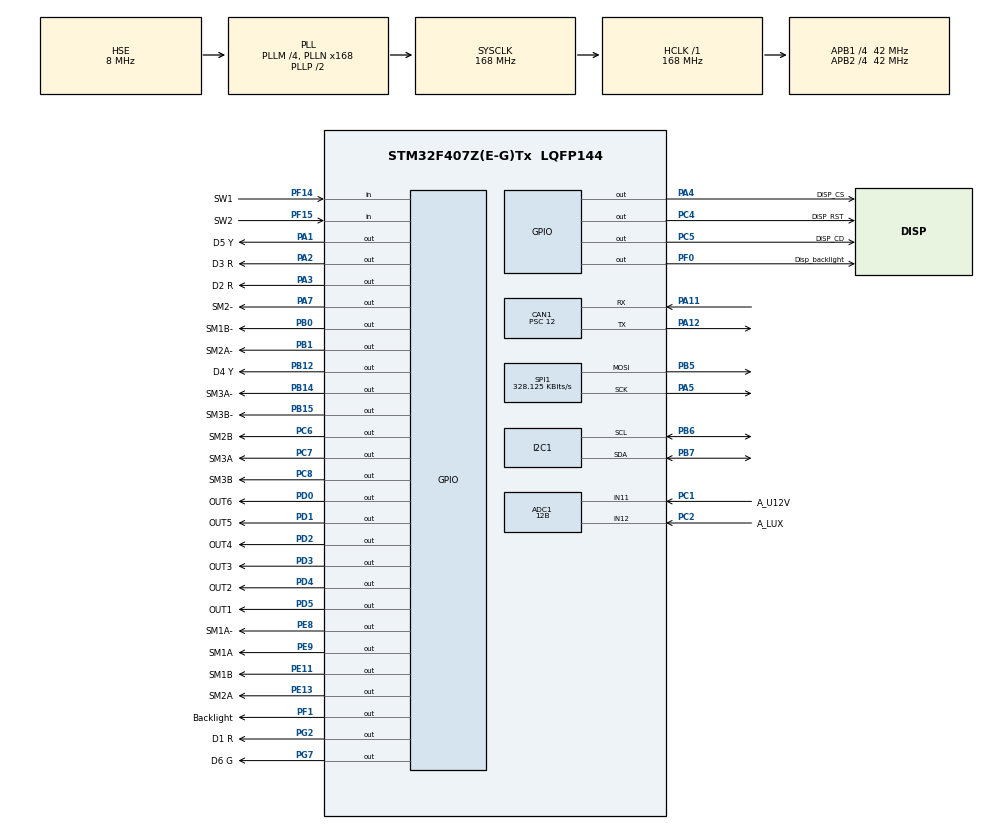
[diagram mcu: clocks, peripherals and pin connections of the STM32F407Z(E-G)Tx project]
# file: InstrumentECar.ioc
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ADC1.Channel-0\#ChannelRegularConversion=ADC_CHANNEL_11
ADC1.Channel-1\#ChannelRegularConversion=ADC_CHANNEL_12
ADC1.ContinuousConvMode=ENABLE
ADC1.EOCSelection=ADC_EOC_SEQ_CONV
ADC1.InjNumberOfConversion=0
ADC1.NbrOfConversion=2
ADC1.NbrOfConversionFlag=1
ADC1.Rank-0\#ChannelRegularConversion=1
ADC1.Rank-1\#ChannelRegularConversion=2
ADC1.Resolution=ADC_RESOLUTION_12B
ADC1.SamplingTime-0\#ChannelRegularConversion=ADC_SAMPLETIME_28CYCLES
ADC1.SamplingTime-1\#ChannelRegularConversion=ADC_SAMPLETIME_28CYCLES
ADC1.ScanConvMode=ENABLE
ADC1.master=1
CAN1.BS1=CAN_BS1_3TQ
CAN1.BS2=CAN_BS2_3TQ
CAN1.CalculateTimeQuantum=285.7142857142857
CAN1.Prescaler=12
Dma.ADC1.0.Direction=DMA_PERIPH_TO_MEMORY
Dma.ADC1.0.FIFOMode=DMA_FIFOMODE_DISABLE
Dma.ADC1.0.Instance=DMA2_Stream0
Dma.ADC1.0.MemDataAlignment=DMA_MDATAALIGN_HALFWORD
Dma.ADC1.0.MemInc=DMA_MINC_ENABLE
Dma.ADC1.0.Mode=DMA_NORMAL
Dma.ADC1.0.PeriphDataAlignment=DMA_PDATAALIGN_HALFWORD
Dma.ADC1.0.PeriphInc=DMA_PINC_DISABLE
Dma.ADC1.0.Priority=DMA_PRIORITY_LOW
Dma.Request0=ADC1
Mcu.Family=STM32F4
Mcu.Name=STM32F407Z(E-G)Tx
Mcu.Package=LQFP144
NVIC.CAN1_RX0_IRQn=true\:3\:0\:true\:false\:true\:true\:true
NVIC.DMA2_Stream0_IRQn=true\:0\:0\:false\:false\:true\:false\:true
NVIC.PriorityGroup=NVIC_PRIORITYGROUP_4
PA1.GPIO_Label=D5 Y
PA1.Signal=GPIO_Output
PA11.Mode=Master
PA11.Signal=CAN1_RX
PA12.Mode=Master
PA12.Signal=CAN1_TX
PA13.Mode=Serial_Wire
PA13.Signal=SYS_JTMS-SWDIO
PA14.Mode=Serial_Wire
PA14.Signal=SYS_JTCK-SWCLK
PA2.GPIO_Label=D3 R
PA2.Signal=GPIO_Output
PA3.GPIO_Label=D2 R
PA3.Signal=GPIO_Output
PA4.GPIO_Label=DISP_CS
PA4.Signal=GPIO_Output
PA5.Mode=TX_Only_Simplex_Unidirect_Master
PA5.Signal=SPI1_SCK
PA7.GPIO_Label=SM2-
PA7.Signal=GPIO_Output
PB0.GPIO_Label=SM1B-
PB0.Signal=GPIO_Output
PB1.GPIO_Label=SM2A-
PB1.Signal=GPIO_Output
PB12.GPIO_Label=D4 Y
PB12.Signal=GPIO_Output
PB14.GPIO_Label=SM3A-
PB14.Signal=GPIO_Output
PB15.GPIO_Label=SM3B-
PB15.Signal=GPIO_Output
PB5.Mode=TX_Only_Simplex_Unidirect_Master
PB5.Signal=SPI1_MOSI
PB6.Mode=I2C
PB6.Signal=I2C1_SCL
PB7.Mode=I2C
PB7.Signal=I2C1_SDA
PC1.GPIO_Label=A_U12V
PC1.Signal=ADCx_IN11
PC2.GPIO_Label=A_LUX
PC2.Signal=ADCx_IN12
PC4.GPIO_Label=DISP_RST
PC4.Signal=GPIO_Output
PC5.GPIO_Label=DISP_CD
PC5.Signal=GPIO_Output
PC6.GPIO_Label=SM2B
PC6.Signal=GPIO_Output
PC7.GPIO_Label=SM3A
PC7.Signal=GPIO_Output
PC8.GPIO_Label=SM3B
PC8.Signal=GPIO_Output
PD0.GPIO_Label=OUT6
PD0.Signal=GPIO_Output
PD1.GPIO_Label=OUT5
PD1.Signal=GPIO_Output
PD2.GPIO_Label=OUT4
PD2.Signal=GPIO_Output
PD3.GPIO_Label=OUT3
PD3.Signal=GPIO_Output
PD4.GPIO_Label=OUT2
PD4.Signal=GPIO_Output
PD5.GPIO_Label=OUT1
PD5.Signal=GPIO_Output
PE11.GPIO_Label=SM1B
PE11.Signal=GPIO_Output
PE13.GPIO_Label=SM2A
PE13.Signal=GPIO_Output
PE8.GPIO_Label=SM1A-
PE8.Signal=GPIO_Output
PE9.GPIO_Label=SM1A
PE9.Signal=GPIO_Output
PF0.GPIO_Label=Disp_backlight
PF0.Signal=GPIO_Output
PF1.GPIO_Label=Backlight
PF1.Signal=GPIO_Output
PF14.GPIO_Label=SW1
PF14.Signal=GPIO_Input
PF15.GPIO_Label=SW2
PF15.Signal=GPIO_Input
PG2.GPIO_Label=D1 R
PG2.Signal=GPIO_Output
PG7.GPIO_Label=D6 G
PG7.Signal=GPIO_Output
PH0-OSC_IN.Mode=HSE-External-Oscillator
PH0-OSC_IN.Signal=RCC_OSC_IN
PH1-OSC_OUT.Mode=HSE-External-Oscillator
PH1-OSC_OUT.Signal=RCC_OSC_OUT
ProjectManager.HeapSize=0x200
ProjectManager.StackSize=0x400
ProjectManager.TargetToolchain=STM32CubeIDE
RCC.48MHZClocksFreq_Value=84000000
RCC.AHBFreq_Value=168000000
RCC.APB1CLKDivider=RCC_HCLK_DIV4
RCC.APB1Freq_Value=42000000
RCC.APB1TimFreq_Value=84000000
RCC.APB2CLKDivider=RCC_HCLK_DIV4
RCC.APB2Freq_Value=42000000
RCC.APB2TimFreq_Value=84000000
RCC.CortexFreq_Value=168000000
RCC.HCLKFreq_Value=168000000
RCC.HSE_VALUE=8000000
RCC.HSI_VALUE=16000000
RCC.LSE_VALUE=32768
RCC.PLLM=4
RCC.PLLN=168
RCC.PLLSourceVirtual=RCC_PLLSOURCE_HSE
RCC.SYSCLKFreq_VALUE=168000000
RCC.SYSCLKSource=RCC_SYSCLKSOURCE_PLLCLK
RCC.VCOOutputFreq_Value=336000000
SH.ADCx_IN11.0=ADC1_IN11,IN11
SH.ADCx_IN12.0=ADC1_IN12,IN12
SPI1.BaudRatePrescaler=SPI_BAUDRATEPRESCALER_128
SPI1.CalculateBaudRate=328.125 KBits/s
SPI1.Direction=SPI_DIRECTION_2LINES
SPI1.Mode=SPI_MODE_MASTER
SPI1.VirtualType=VM_MASTER
board=custom

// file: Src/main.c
/* USER CODE BEGIN Header */
/**
 ******************************************************************************
 * @file           : main.c
 * @brief          : Main program body
 ******************************************************************************
 * @attention
 *
 * <h2><center>&copy; Copyright (c) 2019 STMicroelectronics.
 * All rights reserved.</center></h2>
 *
 * This software component is licensed by ST under BSD 3-Clause license,
 * the "License"; You may not use this file except in compliance with the
 * License. You may obtain a copy of the License at:
 *                        opensource.org/licenses/BSD-3-Clause
 *
 ******************************************************************************
 */
/* USER CODE END Header */

#include "main.h"

/* USER CODE BEGIN Includes */
#include "stdio.h"
#include "stdlib.h"
#include "StepperMot.h"
#include "Display.h"
#include "u8g2.h"
#include "SPI_parallel.h"
#include "can_handler.h"
#include "mov_avg.h"
/* USER CODE END Includes */

/* USER CODE BEGIN PTD */
typedef enum {
	DISP_M0, //Default
	DISP_M1,
	DISP_M2,
	DISP_Mcharge,
	DISP_Mlast
} DISP_MODE;

typedef enum
{
	INST_INIT,
	INST_DRIVE,
	INST_CHARGE,
	INST_OFF,
	INST_ERR
}INSTRUMENT_STATE;

char drive_mode_char[] = "PRNDESI";

/* USER CODE END PTD */

/* USER CODE BEGIN PD */
/*DISPLAY dimensions*/
#define DISP_W 128
#define DISP_H 64

#define DISP_MOD_W 20
#define DISP_MOD_H 22

#define DISP_LINE1_Y 42
#define DISP_ODO_size 10
#define DISP_LINE2_Y 53
#define DISP_TRIP_size 10

/*LED control definitions*/

/* USER CODE END PD */

ADC_HandleTypeDef hadc1;
DMA_HandleTypeDef hdma_adc1;
CAN_HandleTypeDef hcan1;
I2C_HandleTypeDef hi2c1;
SPI_HandleTypeDef hspi1;
/* USER CODE BEGIN PV */

s_STEPPER stepper1, stepper2, stepper3;
u8g2_t u8g2;
uint64_t baseTimer = 0;
uint8_t period_1, period_10, period_100, period_1000;
uint8_t sw1_pressed = 0, sw2_pressed = 0;
uint8_t drive_mode = 0;
DISP_MODE display_mode = DISP_M0;

/* BATTERY */
uint16_t hp_batt_tem_C = 0;
uint16_t hp_batt_volt = 0;
uint16_t hp_batt_perc = 0;
#define HP_LOW_BATT 	200 /* 20 % */

uint16_t lp_batt_volt = 0; /*OK 12-15V 0.1V*/
#define LVB_LOW_OFF 50
#define LVB_CHAR_LO 131
#define LVB_CHAR_HI 136

/* TEMPERATURES */
#define HP_BAT_PUMP 	400 /* 40 C */
#define MOT_PUMP 		50 /* 50 C */
#define HP_BAT_COOL 	350 /* 40 C */
#define MOT_COOL 		40 /* 40 C */
#define HP_BAT_TEMP_MAX	580
#define MOT_TEMP_MAX	89

#define HP_BAT_FAN_ON 	450
#define HP_BAT_FAN_OFF	420

#define MOT_FAN_ON 		75
#define MOT_FAN_OFF		50

/* MOTOR */
#define MOT_MAX_POWER 350
#define MOT_MAX_REGEN 80
uint16_t mot_max_power = 500;
uint16_t mot_max_regen = 300;

/*DISTANCE AND SPEED*/
//#define DIST_DIV_CONST 57600
#define TRIP_DIV_CONST 57600
#define ODO_DIV_CONST 58
#define ODO_LOW_DIV 1000
#define TRIP_EEPROM_ADD 10
#define ODO_EEPROM_ADD 20
uint32_t odo_dist = 0, trip_dist = 0; /*ODO is divided by 1000 */
uint32_t odo_low = 0;

#define SPEED_DIV_CONST 57600
#define VEH_SPEED_SAMPLES 20
#define SPEED_TO_POS(spd) ((uint32_t)spd*82/100)
int16_t veh_speed = 0;
s_MOV_AVG_32 veh_speed_avg;
uint32_t veh_speed_buf[VEH_SPEED_SAMPLES];

/* CHARACTER ARRAYS */
char univ_string4[] = "1234";
char univ_string6[] = "123456";

char char_mode[] = "P";
char char_odo[] = "000000";
char char_trip[] = "0000.0";

/* USER CODE END PV */

void SystemClock_Config(void);
static void MX_GPIO_Init(void);
static void MX_ADC1_Init(void);
static void MX_DMA_Init(void);
static void MX_CAN1_Init(void);
static void MX_I2C1_Init(void);
static void MX_SPI1_Init(void);

/* USER CODE BEGIN 0 */

void R_button() {
	if (sw1_pressed)
		HAL_GPIO_TogglePin(Backlight_GPIO_Port, Backlight_Pin);
	else
		trip_dist = 0;
}
void L_button() /*OK*/
{
	display_mode++;
	if (display_mode > DISP_M2)
		display_mode = DISP_M0;
}

void set_pointers_positions() {
	//stepper1.wPosition = (int16_t) MOTOR_POWER / 146 + 15;
	int16_t current = MOTOR_CURRENT;
	if(current > 0) stepper1.wPosition = current / 320 + 15;
	else stepper1.wPosition = current  / 53 + 15;
	stepper2.wPosition = SPEED_TO_POS(veh_speed);
	stepper3.wPosition = (hp_batt_perc / 25);

}

#define OUT_BAT400 	2
#define OUT_REL400 	1
#define OUT_FAN_BAT	5
#define OUT_FAN_MOT 4
#define OUT_PUMPS	3

void set_out(uint8_t out_nr, uint8_t out_enable) {
	switch (out_nr) {
	case 1:
		HAL_GPIO_WritePin(OUT1_GPIO_Port, OUT1_Pin, out_enable);
		break;
	case 2:
		HAL_GPIO_WritePin(OUT2_GPIO_Port, OUT2_Pin, out_enable);
		break;
	case 3:
		HAL_GPIO_WritePin(OUT3_GPIO_Port, OUT3_Pin, out_enable);
		break;
	case 4:
		HAL_GPIO_WritePin(OUT4_GPIO_Port, OUT4_Pin, out_enable);
		break;
	case 5:
		HAL_GPIO_WritePin(OUT5_GPIO_Port, OUT5_Pin, out_enable);
		break;
	case 6:
		HAL_GPIO_WritePin(OUT6_GPIO_Port, OUT6_Pin, out_enable);
		break;
	}
}

typedef enum {
	LED_PARKING, /*OK*/
	LED_BRAKE_PEDAL, LED_LOW_BATT, /*OK*/
	LED_CHARGING_ERROR, /*OK*/
	LED_OVERHEAT, LED_CHECK_ENGINE
} LED_INDICATOR;

void set_indicator(LED_INDICATOR indicator, uint8_t ind_enable) {
	switch (indicator) {
	case LED_PARKING:
		HAL_GPIO_WritePin(D1_R_GPIO_Port, D1_R_Pin, ind_enable);
		break;
	case LED_BRAKE_PEDAL:
		HAL_GPIO_WritePin(D6_G_GPIO_Port, D6_G_Pin, ind_enable);
		break;
	case LED_LOW_BATT:
		HAL_GPIO_WritePin(D5_Y_GPIO_Port, D5_Y_Pin, ind_enable);
		break;
	case LED_CHARGING_ERROR:
		HAL_GPIO_WritePin(D2_R_GPIO_Port, D2_R_Pin, ind_enable);
		break;
	case LED_OVERHEAT:
		HAL_GPIO_WritePin(D3_R_GPIO_Port, D3_R_Pin, ind_enable);
		break;
	case LED_CHECK_ENGINE:
		HAL_GPIO_WritePin(D4_Y_GPIO_Port, D4_Y_Pin, ind_enable);
		break;
	}
}

void get_lp_voltage() {
	if (HAL_ADC_GetValue(&hadc1) < 442)
		lp_batt_volt = 0;
	else
		lp_batt_volt = (10 * HAL_ADC_GetValue(&hadc1) - 4420) / 150;
}

void int2str(char *array, int32_t number, uint32_t a_length, char fill_char) /*OK*/
{
	for (uint8_t i = a_length; i > 0; i--) {
		if (number == 0 && i < a_length)
			array[i - 1] = fill_char;
		else {
			array[i - 1] = (number % 10) + '0';
			number = number / 10;
		}
	}
}

void fp2str(char *array, int32_t number, uint8_t point_pos, uint32_t a_length,
		char fill_char)/*OK*/
{
	for (uint8_t i = a_length; i > 0; i--) {
		if (i == a_length - point_pos && i < a_length) {
			array[i - 1] = '.';
		} else if (number == 0 && i < a_length - point_pos - 1)
			array[i - 1] = fill_char;
		else {
			array[i - 1] = (number % 10) + '0';
			number = number / 10;
		}
	}
}

void draw_bargraph(uint8_t y_line, uint16_t percent, char *b_min, char *b_max)/*OK*/
{
	u8g2_SetFont(&u8g2, u8g2_font_ncenR08_tr);
	u8g2_DrawStr(&u8g2, 1, y_line + 8, b_min);
	u8g2_DrawStr(&u8g2, 105, y_line + 8, b_max);
	u8g2_DrawFrame(&u8g2, 24, y_line, 80, 8);
	u8g2_DrawBox(&u8g2, 24, y_line, (percent << 3) / 10, 8);
}

void display_redraw() {
	u8g2_ClearBuffer(&u8g2);

	switch (display_mode) {
	// default
	case DISP_M0:
		u8g2_SetFont(&u8g2, u8g2_font_ncenR08_tr);
		u8g2_DrawStr(&u8g2, 8, 10, "Batt temp");
		u8g2_DrawStr(&u8g2, 50, 20, "°C");
		fp2str(univ_string6, hp_batt_tem_C, 1, 6, ' ');
		//int2str(univ_string4, hp_batt_tem_C, 4, ' ');
		u8g2_DrawStr(&u8g2, 10, 20, univ_string6);

		u8g2_DrawStr(&u8g2, 3, 30, "Batt charge");
		u8g2_DrawStr(&u8g2, 55, 40, "%");
		fp2str(univ_string6, hp_batt_perc, 1, 6, ' ');
		u8g2_DrawStr(&u8g2, 10, 40, univ_string6);

		u8g2_DrawStr(&u8g2, 70, 10, "Max power");
		u8g2_DrawStr(&u8g2, 105, 20, "kW");
		//fp2str(univ_string6, 4*MAX_DISCH_POW, 1, 6, ' ');
		int2str(univ_string4, MAX_DISCH_POW / 10, 4, ' ');
		u8g2_DrawStr(&u8g2, 75, 20, univ_string4);

		u8g2_DrawStr(&u8g2, 70, 30, "Max regen.");
		u8g2_DrawStr(&u8g2, 105, 40, "kW");
		//fp2str(univ_string6, (4*MAX_REGEN_POW)/5, 1, 6, ' ');
		int2str(univ_string4, MAX_REGEN_POW / 10, 4, ' ');
		u8g2_DrawStr(&u8g2, 75, 40, univ_string4);
		break;
		// Mode1 - battery
	case DISP_M1:
		u8g2_SetFont(&u8g2, u8g2_font_ncenR08_tr);
		//u8g2_DrawStr(&u8g2, 30, 20, "Mode2");
		u8g2_DrawStr(&u8g2, 40, 10, "Batt temp °C");
		draw_bargraph(12, hp_batt_tem_C / 6, "    0", " 60");

		u8g2_DrawStr(&u8g2, 35, 30, "Batt charge %");
		draw_bargraph(32, hp_batt_perc / 10, "    0", " 100");

		//u8g2_DrawStr(&u8g2, 60, 38, "V");
		//fp2str(univ_string6, lp_batt_volt, 1, 6, ' ');
		//u8g2_DrawStr(&u8g2, 30, 38, univ_string6);
		break;
		// Mode2 - power settings
	case DISP_M2:
		u8g2_SetFont(&u8g2, u8g2_font_ncenR08_tr);
		u8g2_DrawStr(&u8g2, 25, 10, "Max power  kW");
		draw_bargraph(12, (MAX_DISCH_POW) / 35, "    0", " 400");

		u8g2_DrawStr(&u8g2, 25, 30, "Max regen.  kW");
		draw_bargraph(32, (MAX_REGEN_POW) / 8, "    0", " 80");
		//u8g2_SetFont(&u8g2, u8g2_font_ncenR08_tr);
		//u8g2_DrawStr(&u8g2, 30, 20, "Mode3");
		break;
	case DISP_Mcharge: /*OK*/
		u8g2_SetFont(&u8g2, u8g2_font_ncenR08_tr);
		u8g2_DrawStr(&u8g2, 35, 20, "CHARGING");
		if (hp_batt_perc != 0)
			draw_bargraph(30, hp_batt_perc / 10, "    0", " 100");
		clear_CAN_msg(0x301);
		break;
	case DISP_Mlast:
	default:
		break;
	}
	//MODE
	u8g2_DrawFrame(&u8g2, DISP_W - DISP_MOD_W, DISP_H - DISP_MOD_H, DISP_MOD_W,
			DISP_MOD_H);
	u8g2_SetFont(&u8g2, u8g2_font_timB18_tr);
	char_mode[0] = drive_mode_char[drive_mode];
	u8g2_DrawStr(&u8g2, DISP_W - DISP_MOD_W + 2, DISP_H - 2, char_mode);
	//ODO + TRIP
	u8g2_DrawLine(&u8g2, 0, DISP_LINE1_Y, DISP_W - DISP_MOD_W, DISP_LINE1_Y);
	u8g2_DrawLine(&u8g2, 0, DISP_LINE2_Y, DISP_W - DISP_MOD_W, DISP_LINE2_Y);
	u8g2_SetFont(&u8g2, u8g2_font_ncenB08_tr);
	u8g2_DrawStr(&u8g2, 02, DISP_LINE1_Y + DISP_TRIP_size, "TRIP");
	u8g2_DrawStr(&u8g2, 02, DISP_LINE2_Y + DISP_ODO_size, "ODO");
	u8g2_SetFont(&u8g2, u8g2_font_ncenR08_tr);
	fp2str(char_trip, (trip_dist / TRIP_DIV_CONST), 1, 6, '0');
	u8g2_DrawStr(&u8g2, 60, DISP_LINE1_Y + DISP_TRIP_size, char_trip);
	int2str(char_odo, (odo_dist / ODO_DIV_CONST), 6, '0');
	u8g2_DrawStr(&u8g2, 60, DISP_LINE2_Y + DISP_ODO_size, char_odo);
	u8g2_UpdateDisplay(&u8g2);
}
/* USER CODE END 0 */

//HAL_CAN_StateTypeDef CAN_state1;
int main(void) {

	/* MCU Configuration--------------------------------------------------------*/

	/* Reset of all peripherals, Initializes the Flash interface and the Systick. */
	HAL_Init();

	/* USER CODE BEGIN Init */
	INSTRUMENT_STATE inst_state = INST_INIT;
	xv_mov_avg_init(&veh_speed_avg, veh_speed_buf, VEH_SPEED_SAMPLES);

	/* USER CODE END Init */

	/* Configure the system clock */
	SystemClock_Config();

	/* USER CODE BEGIN SysInit */
	SysTick_Config(168000);

	/* USER CODE END SysInit */

	/* Initialize all configured peripherals */
	MX_GPIO_Init();
	MX_ADC1_Init();
	MX_DMA_Init();
	MX_CAN1_Init();
	MX_I2C1_Init();
	MX_SPI1_Init();
	/* USER CODE BEGIN 2 */

	/*Load distance*/
	HAL_I2C_Mem_Read(&hi2c1, 0xA0, TRIP_EEPROM_ADD, I2C_MEMADD_SIZE_16BIT,
			(uint8_t*) &trip_dist, 4, 1000);
	HAL_I2C_Mem_Read(&hi2c1, 0xA0, ODO_EEPROM_ADD, I2C_MEMADD_SIZE_16BIT,
			(uint8_t*) &odo_dist, 4, 1000);
	//odo_dist = ODO_DIV_CONST;

	HAL_Delay(100);
	get_lp_voltage();

	u8g2_Setup_ks0108_128x64_f(&u8g2, U8G2_R0, u8x8_byte_parallel_hw_spi,
			u8x8_gpio_delay_parallel);
	u8g2_InitDisplay(&u8g2);
	u8g2_SetPowerSave(&u8g2, 0);

	if (lp_batt_volt < LVB_LOW_OFF)
		inst_state = INST_CHARGE;

	if (inst_state == INST_INIT) {
		//init STEPPERS
		stepper1.port[0] = GPIOE;
		stepper1.pin[0] = GPIO_PIN_9;
		stepper1.port[1] = GPIOE;
		stepper1.pin[1] = GPIO_PIN_11;
		stepper1.port[2] = GPIOE;
		stepper1.pin[2] = GPIO_PIN_8;
		stepper1.port[3] = GPIOB;
		stepper1.pin[3] = GPIO_PIN_0;
		stepper1.direction = FORWARD;
		stepper1.max_position = 39;
		stepper1.period = 15;
		StepperMot_init(&stepper1, 20);

		stepper2.port[0] = GPIOE;
		stepper2.pin[0] = GPIO_PIN_13;
		stepper2.port[1] = GPIOC;
		stepper2.pin[1] = GPIO_PIN_6;
		stepper2.port[2] = GPIOB;
		stepper2.pin[2] = GPIO_PIN_1;
		stepper2.port[3] = GPIOA;
		stepper2.pin[3] = GPIO_PIN_7;
		stepper2.direction = FORWARD;
		stepper2.max_position = 820;
		stepper2.period = 2;
		StepperMot_init(&stepper2, 100);

		stepper3.port[0] = GPIOC;
		stepper3.pin[0] = GPIO_PIN_7;
		stepper3.port[1] = GPIOC;
		stepper3.pin[1] = GPIO_PIN_8;
		stepper3.port[2] = GPIOB;
		stepper3.pin[2] = GPIO_PIN_14;
		stepper3.port[3] = GPIOB;
		stepper3.pin[3] = GPIO_PIN_15;
		stepper3.direction = BACKWARD;
		stepper3.max_position = 39;
		stepper3.period = 15;
		StepperMot_init(&stepper3, 20);

		//set LEDS ON
		HAL_GPIO_WritePin(D1_R_GPIO_Port, D1_R_Pin, GPIO_PIN_SET);
		HAL_GPIO_WritePin(D2_R_GPIO_Port, D2_R_Pin, GPIO_PIN_SET);
		HAL_GPIO_WritePin(D3_R_GPIO_Port, D3_R_Pin, GPIO_PIN_SET);
		HAL_GPIO_WritePin(D4_Y_GPIO_Port, D4_Y_Pin, GPIO_PIN_SET);
		HAL_GPIO_WritePin(D5_Y_GPIO_Port, D5_Y_Pin, GPIO_PIN_SET);
		HAL_GPIO_WritePin(D6_G_GPIO_Port, D6_G_Pin, GPIO_PIN_SET);
		HAL_GPIO_WritePin(Backlight_GPIO_Port, Backlight_Pin, GPIO_PIN_SET); //backlight
	}
	HAL_GPIO_WritePin(Disp_backlight_GPIO_Port, Disp_backlight_Pin,
			GPIO_PIN_SET); //LCD backlight

	/* USER CODE END 2 */

	/* Infinite loop */
	/* USER CODE BEGIN WHILE */
	while (1) {
		switch (inst_state) {
		case INST_INIT:
			if (stepper1.at_position && stepper2.at_position
					&& stepper3.at_position) {
				inst_state = INST_DRIVE;
				HAL_GPIO_WritePin(D1_R_GPIO_Port, D1_R_Pin, GPIO_PIN_RESET);
				HAL_GPIO_WritePin(D2_R_GPIO_Port, D2_R_Pin, GPIO_PIN_RESET);
				HAL_GPIO_WritePin(D3_R_GPIO_Port, D3_R_Pin, GPIO_PIN_RESET);
				HAL_GPIO_WritePin(D4_Y_GPIO_Port, D4_Y_Pin, GPIO_PIN_RESET);
				HAL_GPIO_WritePin(D5_Y_GPIO_Port, D5_Y_Pin, GPIO_PIN_RESET);
				HAL_GPIO_WritePin(D6_G_GPIO_Port, D6_G_Pin, GPIO_PIN_RESET);
			}
			break;
		case INST_DRIVE:/* DRIVE MODE*/
			/*Parking LED*/
			set_indicator(LED_PARKING, drive_mode == 0);
			/*Brake pedal LED*/
			if ((drive_mode == 0 || drive_mode == 2) && veh_speed == 0
					&& BRAKE_PEDAL_PRESSED == 0) {
				set_indicator(LED_BRAKE_PEDAL, 1);
			} else {
				set_indicator(LED_BRAKE_PEDAL, 0);
			}
			/*Low battery LED*/
			if (lp_batt_volt < LVB_CHAR_LO)
				set_indicator(LED_CHARGING_ERROR, 1);
			else if (lp_batt_volt > LVB_CHAR_HI)
				set_indicator(LED_CHARGING_ERROR, 0);

			/*LED_OVERHEAT*/
			set_indicator(LED_OVERHEAT,
					(hp_batt_tem_C > HP_BAT_TEMP_MAX
							|| MOTOR_TEMP > MOT_TEMP_MAX));

			set_indicator(LED_LOW_BATT, hp_batt_perc < HP_LOW_BATT);

			/* TODO LED control - check engine */
			set_indicator(LED_CHECK_ENGINE, 0);

			/*LED_CHECK_ENGINE*/
			set_out(OUT_REL400, 1); /*motor relay ON*/
			set_out(OUT_BAT400, 1); /*HP battery switch ON*/

			/*OUT control - cooling*/
			if (hp_batt_tem_C > HP_BAT_PUMP || MOTOR_TEMP > MOT_PUMP) {
				set_out(OUT_PUMPS, 1);
			} else if (hp_batt_tem_C < HP_BAT_COOL || MOTOR_TEMP < MOT_COOL) {
				set_out(OUT_PUMPS, 0);
			}

			if (hp_batt_tem_C > HP_BAT_FAN_ON) set_out(OUT_FAN_BAT, 1);
			else if(hp_batt_tem_C < HP_BAT_FAN_OFF) set_out(OUT_FAN_BAT, 0);

			if (MOTOR_TEMP > MOT_FAN_ON) set_out(OUT_FAN_MOT, 1);
			else if(MOTOR_TEMP < MOT_FAN_OFF) set_out(OUT_FAN_MOT, 0);

			if (period_10)
				set_pointers_positions();
			if (lp_batt_volt < LVB_LOW_OFF)
				inst_state = INST_OFF;

			break;
		case INST_CHARGE:
			display_mode = DISP_Mcharge;
			/*TODO end charging */
			/*TODO cooling when charging */
			break;
		case INST_OFF:
			HAL_GPIO_WritePin(D1_R_GPIO_Port, D1_R_Pin, GPIO_PIN_RESET);
			HAL_GPIO_WritePin(D2_R_GPIO_Port, D2_R_Pin, GPIO_PIN_RESET);
			HAL_GPIO_WritePin(D3_R_GPIO_Port, D3_R_Pin, GPIO_PIN_RESET);
			HAL_GPIO_WritePin(D4_Y_GPIO_Port, D4_Y_Pin, GPIO_PIN_RESET);
			HAL_GPIO_WritePin(D5_Y_GPIO_Port, D5_Y_Pin, GPIO_PIN_RESET);
			HAL_GPIO_WritePin(D6_G_GPIO_Port, D6_G_Pin, GPIO_PIN_RESET);
			HAL_GPIO_WritePin(Disp_backlight_GPIO_Port, Disp_backlight_Pin,
					GPIO_PIN_RESET); //LCD backlight
			//HAL_GPIO_WritePin(Backlight_GPIO_Port, Backlight_Pin, GPIO_PIN_RESET); //backlight

			/*Save distance*/
			HAL_I2C_Mem_Write(&hi2c1, 0xA0, TRIP_EEPROM_ADD,
					I2C_MEMADD_SIZE_16BIT, (uint8_t*) &trip_dist, 4, 1000);
			HAL_I2C_Mem_Write(&hi2c1, 0xA0, ODO_EEPROM_ADD,
					I2C_MEMADD_SIZE_16BIT, (uint8_t*) &odo_dist, 4, 1000);

			/*steppers to 0 */
			stepper1.wPosition = 0;
			stepper2.wPosition = 0;
			stepper3.wPosition = 0;

			/*OUT control OFF*/
			set_out(OUT_REL400, 0);/*motor relay OFF*/
			set_out(OUT_BAT400, 0);/*HP battery switch OFF*/
			set_out(OUT_PUMPS, 0);
			set_out(OUT_FAN_BAT, 0);
			set_out(OUT_FAN_MOT, 0);

			break;
		case INST_ERR:
		default:
			break;
		}
		if (stepper1.next_step) {
			StepperMot_step(&stepper1);
			stepper1.next_step = 0;
		}
		if (stepper2.next_step) {
			StepperMot_step(&stepper2);
			stepper2.next_step = 0;
		}
		if (stepper3.next_step) {
			StepperMot_step(&stepper3);
			stepper3.next_step = 0;
		}
		if (period_1) {
			get_lp_voltage();

			period_1 = 0;
			//CAN_state1 = HAL_CAN_GetState(&hcan1);
		}
		if (period_10) {
			if (sw1_pressed == 0 && HAL_GPIO_ReadPin(SW1_GPIO_Port, SW1_Pin)) {
				sw1_pressed = 1;
				L_button();
			} else if (HAL_GPIO_ReadPin(SW1_GPIO_Port, SW1_Pin) == 0)
				sw1_pressed = 0;

			if (sw2_pressed == 0 && HAL_GPIO_ReadPin(SW2_GPIO_Port, SW2_Pin)) {
				sw2_pressed = 1;
				R_button();
			} else if (HAL_GPIO_ReadPin(SW2_GPIO_Port, SW2_Pin) == 0)
				sw2_pressed = 0;

			veh_speed = xu32_mov_avg_add(&veh_speed_avg, abs(VEHICLE_SPEED));

			period_10 = 0;
		}
		if (period_100) {
			trip_dist += veh_speed;
			odo_low += veh_speed;
			if (odo_low > ODO_LOW_DIV) {
				odo_dist += (odo_low / ODO_LOW_DIV);
				odo_low = odo_low % ODO_LOW_DIV; //keep only the rest
			}
			/*CAN_TxHeaderTypeDef senth;
			 senth.DLC = 8;
			 senth.IDE = CAN_ID_STD;
			 senth.StdId = 100;
			 uint32_t mailbox0;
			 uint8_t txmsg[8] = {0,1,2,3,4,5,6,7};
			 HAL_CAN_AddTxMessage(&hcan1, &senth, txmsg, &mailbox0);*/
			period_100 = 0;
		}
		if (period_1000) {
			//mot_max_power = MAX_DISCH_POW;
			//mot_max_regen = MAX_REGEN_POW;

			hp_batt_perc = BMS_BAT_CHSTATE;
			hp_batt_tem_C = BMS_BAT_TEMP;
			hp_batt_volt = BMS_BAT_VOLT;

			drive_mode = DRIVE_MODE;
			display_redraw();
			period_1000 = 0;
		}
		/* USER CODE END WHILE */

	}
}

void SystemClock_Config(void) {
	RCC_OscInitTypeDef RCC_OscInitStruct = { 0 };
	RCC_ClkInitTypeDef RCC_ClkInitStruct = { 0 };

	/** Configure the main internal regulator output voltage
	 */
	__HAL_RCC_PWR_CLK_ENABLE();
	__HAL_PWR_VOLTAGESCALING_CONFIG(PWR_REGULATOR_VOLTAGE_SCALE1);
	/** Initializes the CPU, AHB and APB busses clocks
	 */
	RCC_OscInitStruct.OscillatorType = RCC_OSCILLATORTYPE_HSE;
	RCC_OscInitStruct.HSEState = RCC_HSE_ON;
	RCC_OscInitStruct.PLL.PLLState = RCC_PLL_ON;
	RCC_OscInitStruct.PLL.PLLSource = RCC_PLLSOURCE_HSE;
	RCC_OscInitStruct.PLL.PLLM = 4;
	RCC_OscInitStruct.PLL.PLLN = 168;
	RCC_OscInitStruct.PLL.PLLP = RCC_PLLP_DIV2;
	RCC_OscInitStruct.PLL.PLLQ = 4;
	if (HAL_RCC_OscConfig(&RCC_OscInitStruct) != HAL_OK) {
		Error_Handler();
	}
	/** Initializes the CPU, AHB and APB busses clocks
	 */
	RCC_ClkInitStruct.ClockType = RCC_CLOCKTYPE_HCLK | RCC_CLOCKTYPE_SYSCLK
			| RCC_CLOCKTYPE_PCLK1 | RCC_CLOCKTYPE_PCLK2;
	RCC_ClkInitStruct.SYSCLKSource = RCC_SYSCLKSOURCE_PLLCLK;
	RCC_ClkInitStruct.AHBCLKDivider = RCC_SYSCLK_DIV1;
	RCC_ClkInitStruct.APB1CLKDivider = RCC_HCLK_DIV4;
	RCC_ClkInitStruct.APB2CLKDivider = RCC_HCLK_DIV4;

	if (HAL_RCC_ClockConfig(&RCC_ClkInitStruct, FLASH_LATENCY_5) != HAL_OK) {
		Error_Handler();
	}
}

static void MX_ADC1_Init(void) {

	ADC_ChannelConfTypeDef sConfig = { 0 };

	/** Configure the global features of the ADC (Clock, Resolution, Data Alignment and number of conversion)
	 */
	hadc1.Instance = ADC1;
	hadc1.Init.ClockPrescaler = ADC_CLOCK_SYNC_PCLK_DIV2;
	hadc1.Init.Resolution = ADC_RESOLUTION_12B;
	hadc1.Init.ScanConvMode = ENABLE;
	hadc1.Init.ContinuousConvMode = ENABLE;
	hadc1.Init.DiscontinuousConvMode = DISABLE;
	hadc1.Init.ExternalTrigConvEdge = ADC_EXTERNALTRIGCONVEDGE_NONE;
	hadc1.Init.ExternalTrigConv = ADC_SOFTWARE_START;
	hadc1.Init.DataAlign = ADC_DATAALIGN_RIGHT;
	hadc1.Init.NbrOfConversion = 1;
	hadc1.Init.DMAContinuousRequests = DISABLE;
	hadc1.Init.EOCSelection = ADC_EOC_SEQ_CONV;
	if (HAL_ADC_Init(&hadc1) != HAL_OK) {
		Error_Handler();
	}
	/** Configure for the selected ADC regular channel its corresponding rank in the sequencer and its sample time.
	 */
	sConfig.Channel = ADC_CHANNEL_11;
	sConfig.Rank = 1;
	sConfig.SamplingTime = ADC_SAMPLETIME_28CYCLES;
	if (HAL_ADC_ConfigChannel(&hadc1, &sConfig) != HAL_OK) {
		Error_Handler();
	}
	/** Configure for the selected ADC regular channel its corresponding rank in the sequencer and its sample time.
	 */
	/*sConfig.Channel = ADC_CHANNEL_12;
	 sConfig.Rank = 2;
	 if (HAL_ADC_ConfigChannel(&hadc1, &sConfig) != HAL_OK)
	 {
	 Error_Handler();
	 }*/
	/* USER CODE BEGIN ADC1_Init 2 */
	HAL_ADC_Start(&hadc1);

	/* USER CODE END ADC1_Init 2 */

}

static void MX_CAN1_Init(void) {

	hcan1.Instance = CAN1;
	hcan1.Init.Prescaler = 12;
	hcan1.Init.Mode = CAN_MODE_NORMAL;
	hcan1.Init.SyncJumpWidth = CAN_SJW_1TQ;
	hcan1.Init.TimeSeg1 = CAN_BS1_3TQ;
	hcan1.Init.TimeSeg2 = CAN_BS2_3TQ;
	hcan1.Init.TimeTriggeredMode = DISABLE;
	hcan1.Init.AutoBusOff = DISABLE;
	hcan1.Init.AutoWakeUp = DISABLE;
	hcan1.Init.AutoRetransmission = DISABLE;
	hcan1.Init.ReceiveFifoLocked = DISABLE;
	hcan1.Init.TransmitFifoPriority = DISABLE;
	if (HAL_CAN_Init(&hcan1) != HAL_OK) {
		Error_Handler();
	}
	/* USER CODE BEGIN CAN1_Init 2 */
	CAN_FilterTypeDef sFilterConfig;

	sFilterConfig.FilterBank = 0;
	sFilterConfig.FilterMode = CAN_FILTERMODE_IDMASK;
	sFilterConfig.FilterScale = CAN_FILTERSCALE_32BIT;
	sFilterConfig.FilterMaskIdHigh = 0;
	sFilterConfig.FilterMaskIdLow = 0;
	sFilterConfig.FilterIdHigh = 0x7FFF;
	sFilterConfig.FilterIdLow = 0x0000;
	sFilterConfig.FilterFIFOAssignment = CAN_RX_FIFO0;
	sFilterConfig.FilterActivation = ENABLE;
	sFilterConfig.SlaveStartFilterBank = 14;

	HAL_CAN_ConfigFilter(&hcan1, &sFilterConfig);

	HAL_CAN_ActivateNotification(&hcan1,
			CAN_IT_RX_FIFO0_MSG_PENDING | CAN_IT_RX_FIFO1_MSG_PENDING);
	HAL_CAN_Start(&hcan1);
	/* USER CODE END CAN1_Init 2 */

}

static void MX_I2C1_Init(void) {

	hi2c1.Instance = I2C1;
	hi2c1.Init.ClockSpeed = 100000;
	hi2c1.Init.DutyCycle = I2C_DUTYCYCLE_2;
	hi2c1.Init.OwnAddress1 = 0;
	hi2c1.Init.AddressingMode = I2C_ADDRESSINGMODE_7BIT;
	hi2c1.Init.DualAddressMode = I2C_DUALADDRESS_DISABLE;
	hi2c1.Init.OwnAddress2 = 0;
	hi2c1.Init.GeneralCallMode = I2C_GENERALCALL_DISABLE;
	hi2c1.Init.NoStretchMode = I2C_NOSTRETCH_DISABLE;
	if (HAL_I2C_Init(&hi2c1) != HAL_OK) {
		Error_Handler();
	}

}

static void MX_SPI1_Init(void) {

	/* USER CODE BEGIN SPI1_Init 0 */
	HAL_SPI_DeInit(&hspi1);
	/* USER CODE END SPI1_Init 0 */

	/* SPI1 parameter configuration*/
	hspi1.Instance = SPI1;
	hspi1.Init.Mode = SPI_MODE_MASTER;
	hspi1.Init.Direction = SPI_DIRECTION_2LINES;
	hspi1.Init.DataSize = SPI_DATASIZE_8BIT;
	hspi1.Init.CLKPolarity = SPI_POLARITY_LOW;
	hspi1.Init.CLKPhase = SPI_PHASE_1EDGE;
	hspi1.Init.NSS = SPI_NSS_SOFT;
	hspi1.Init.BaudRatePrescaler = SPI_BAUDRATEPRESCALER_8;
	hspi1.Init.FirstBit = SPI_FIRSTBIT_MSB;
	hspi1.Init.TIMode = SPI_TIMODE_DISABLE;
	hspi1.Init.CRCCalculation = SPI_CRCCALCULATION_DISABLE;
	hspi1.Init.CRCPolynomial = 10;
	if (HAL_SPI_Init(&hspi1) != HAL_OK) {
		Error_Handler();
	}

}

static void MX_DMA_Init(void) {

	/* DMA controller clock enable */
	__HAL_RCC_DMA2_CLK_ENABLE();

	/* DMA interrupt init */
	/* DMA2_Stream0_IRQn interrupt configuration */
	HAL_NVIC_SetPriority(DMA2_Stream0_IRQn, 0, 0);
	HAL_NVIC_EnableIRQ(DMA2_Stream0_IRQn);

}

static void MX_GPIO_Init(void) {
	GPIO_InitTypeDef GPIO_InitStruct = { 0 };

	/* GPIO Ports Clock Enable */
	__HAL_RCC_GPIOF_CLK_ENABLE();
	__HAL_RCC_GPIOH_CLK_ENABLE();
	__HAL_RCC_GPIOC_CLK_ENABLE();
	__HAL_RCC_GPIOA_CLK_ENABLE();
	__HAL_RCC_GPIOB_CLK_ENABLE();
	__HAL_RCC_GPIOE_CLK_ENABLE();
	__HAL_RCC_GPIOG_CLK_ENABLE();
	__HAL_RCC_GPIOD_CLK_ENABLE();

	/*Configure GPIO pin Output Level */
	HAL_GPIO_WritePin(GPIOF, Disp_backlight_Pin | Backlight_Pin,
			GPIO_PIN_RESET);

	/*Configure GPIO pin Output Level */
	HAL_GPIO_WritePin(GPIOA,
			D5_Y_Pin | D3_R_Pin | D2_R_Pin | DISP_CS_Pin | SM2__Pin,
			GPIO_PIN_RESET);

	/*Configure GPIO pin Output Level */
	HAL_GPIO_WritePin(GPIOC,
			DISP_RST_Pin | DISP_CD_Pin | SM2B_Pin | SM3A_Pin | SM3B_Pin,
			GPIO_PIN_RESET);

	/*Configure GPIO pin Output Level */
	HAL_GPIO_WritePin(GPIOB,
			SM1B__Pin | SM2A__Pin | D4_Y_Pin | SM3A__Pin | SM3B__Pin,
			GPIO_PIN_RESET);

	/*Configure GPIO pin Output Level */
	HAL_GPIO_WritePin(GPIOE, SM1A__Pin | SM1A_Pin | SM1B_Pin | SM2A_Pin,
			GPIO_PIN_RESET);

	/*Configure GPIO pin Output Level */
	HAL_GPIO_WritePin(GPIOG, D1_R_Pin | D6_G_Pin, GPIO_PIN_RESET);

	/*Configure GPIO pin Output Level */
	HAL_GPIO_WritePin(GPIOD,
			OUT6_Pin | OUT5_Pin | OUT4_Pin | OUT3_Pin | OUT2_Pin | OUT1_Pin,
			GPIO_PIN_RESET);

	/*Configure GPIO pins : Disp_backlight_Pin Backlight_Pin */
	GPIO_InitStruct.Pin = Disp_backlight_Pin | Backlight_Pin;
	GPIO_InitStruct.Mode = GPIO_MODE_OUTPUT_PP;
	GPIO_InitStruct.Pull = GPIO_NOPULL;
	GPIO_InitStruct.Speed = GPIO_SPEED_FREQ_LOW;
	HAL_GPIO_Init(GPIOF, &GPIO_InitStruct);

	/*Configure GPIO pins : D5_Y_Pin D3_R_Pin D2_R_Pin DISP_CS_Pin
	 SM2__Pin */
	GPIO_InitStruct.Pin = D5_Y_Pin | D3_R_Pin | D2_R_Pin | DISP_CS_Pin
			| SM2__Pin;
	GPIO_InitStruct.Mode = GPIO_MODE_OUTPUT_PP;
	GPIO_InitStruct.Pull = GPIO_NOPULL;
	GPIO_InitStruct.Speed = GPIO_SPEED_FREQ_LOW;
	HAL_GPIO_Init(GPIOA, &GPIO_InitStruct);

	/*Configure GPIO pins : DISP_RST_Pin DISP_CD_Pin SM2B_Pin SM3A_Pin
	 SM3B_Pin */
	GPIO_InitStruct.Pin = DISP_RST_Pin | DISP_CD_Pin | SM2B_Pin | SM3A_Pin
			| SM3B_Pin;
	GPIO_InitStruct.Mode = GPIO_MODE_OUTPUT_PP;
	GPIO_InitStruct.Pull = GPIO_NOPULL;
	GPIO_InitStruct.Speed = GPIO_SPEED_FREQ_LOW;
	HAL_GPIO_Init(GPIOC, &GPIO_InitStruct);

	/*Configure GPIO pins : SM1B__Pin SM2A__Pin D4_Y_Pin SM3A__Pin
	 SM3B__Pin */
	GPIO_InitStruct.Pin = SM1B__Pin | SM2A__Pin | D4_Y_Pin | SM3A__Pin
			| SM3B__Pin;
	GPIO_InitStruct.Mode = GPIO_MODE_OUTPUT_PP;
	GPIO_InitStruct.Pull = GPIO_NOPULL;
	GPIO_InitStruct.Speed = GPIO_SPEED_FREQ_LOW;
	HAL_GPIO_Init(GPIOB, &GPIO_InitStruct);

	/*Configure GPIO pins : SW1_Pin SW2_Pin */
	GPIO_InitStruct.Pin = SW1_Pin | SW2_Pin;
	GPIO_InitStruct.Mode = GPIO_MODE_INPUT;
	GPIO_InitStruct.Pull = GPIO_NOPULL;
	HAL_GPIO_Init(GPIOF, &GPIO_InitStruct);

	/*Configure GPIO pins : SM1A__Pin SM1A_Pin SM1B_Pin SM2A_Pin */
	GPIO_InitStruct.Pin = SM1A__Pin | SM1A_Pin | SM1B_Pin | SM2A_Pin;
	GPIO_InitStruct.Mode = GPIO_MODE_OUTPUT_PP;
	GPIO_InitStruct.Pull = GPIO_NOPULL;
	GPIO_InitStruct.Speed = GPIO_SPEED_FREQ_LOW;
	HAL_GPIO_Init(GPIOE, &GPIO_InitStruct);

	/*Configure GPIO pins : D1_R_Pin D6_G_Pin */
	GPIO_InitStruct.Pin = D1_R_Pin | D6_G_Pin;
	GPIO_InitStruct.Mode = GPIO_MODE_OUTPUT_PP;
	GPIO_InitStruct.Pull = GPIO_NOPULL;
	GPIO_InitStruct.Speed = GPIO_SPEED_FREQ_LOW;
	HAL_GPIO_Init(GPIOG, &GPIO_InitStruct);

	/*Configure GPIO pins : OUT6_Pin OUT5_Pin OUT4_Pin OUT3_Pin
	 OUT2_Pin OUT1_Pin */
	GPIO_InitStruct.Pin = OUT6_Pin | OUT5_Pin | OUT4_Pin | OUT3_Pin | OUT2_Pin
			| OUT1_Pin;
	GPIO_InitStruct.Mode = GPIO_MODE_OUTPUT_PP;
	GPIO_InitStruct.Pull = GPIO_NOPULL;
	GPIO_InitStruct.Speed = GPIO_SPEED_FREQ_LOW;
	HAL_GPIO_Init(GPIOD, &GPIO_InitStruct);

}

/* USER CODE BEGIN 4 */
void BaseTimer() {
	baseTimer++;
	period_1 = 1;
	if (baseTimer % 10 == 3)
		period_10 = 1;
	if (baseTimer % 100 == 33)
		period_100 = 1;
	if (baseTimer % 1000 == 333)
		period_1000 = 1;
	if (baseTimer % stepper1.period == 0)
		stepper1.next_step = 1;
	if (baseTimer % stepper2.period == 0)
		stepper2.next_step = 1;
	if (baseTimer % stepper3.period == 0)
		stepper3.next_step = 1;

}

/* USER CODE END 4 */

void Error_Handler(void) {
}

/************************ (C) COPYRIGHT STMicroelectronics *****END OF FILE****/
